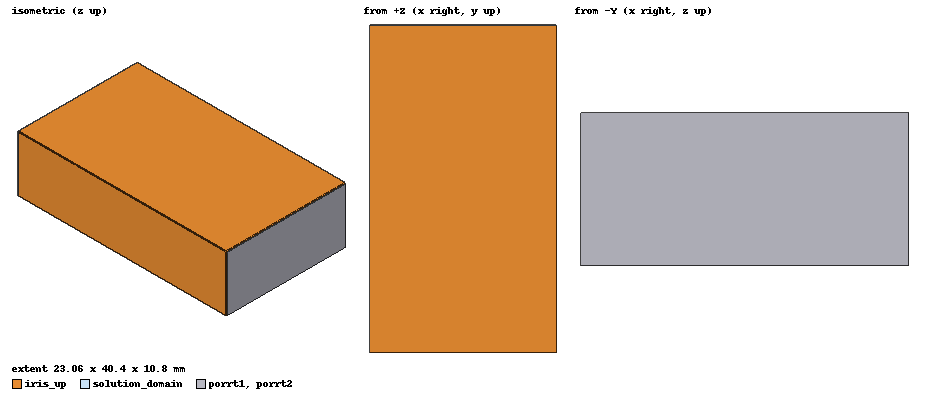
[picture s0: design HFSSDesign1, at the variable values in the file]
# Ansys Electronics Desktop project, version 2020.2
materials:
  vacuum: permittivity=1
  copper: permeability=0.999991 conductivity=58000000
  pec: conductivity=1e+30

design HFSSDesign1 (HFSS, DrivenModal, model units mm)
options: Allow_Material_Override
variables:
  w2 = 0.0106
  w = 0.02286
  t = 0.0001
  l = 0.04
  i = 0.5*(w2-0.006)
  a = 0.041
  w3 = 0.0419
  w4 = 0.044
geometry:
  Box1 = box(corner=(-w/2-t, -l/2-t, -w2/2-t), size=(w+2*t, (l+2*t), w2+2*t))
  iris_up [copper] = box(corner=(-w/2, -t/2, w2/2-i), size=(w, t, i))
  iris_down = box(corner=(-w/2, -t/2, -w2/2), size=(w, t, i))
  Box2 = box(corner=(-w/2, -l/2-t, -w2/2), size=(w, l+2*t, w2))
  solution_domain [vacuum] = box(corner=(-w/2, -l/2-2*t, -w2/2), size=(w, l+4*t, w2))
  Box1.subtract(Box2)
  iris_up.unite(Box1, iris_down)
  porrt1 [pec] = box(corner=(-w/2-t, -l/2-2*t, -w2/2-t), size=(w+2*t, t, w2+2*t))
  porrt2 [pec] = box(corner=(-w/2-t, l/2+t, -w2/2-t), size=(w, t, w2))
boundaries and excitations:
  1: Wave Port Faces=porrt1.face(+y) NumModes=1 DeembedDist=(l+t)/2 Modes{Mode1{CharImp=Zpi}}
  2: Wave Port Faces=porrt2.face(-y) NumModes=1 DeembedDist=(l+t)/2 Modes{Mode1{CharImp=Zpi}}
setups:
  Setup1: HfssDriven Frequency=12GHz MaxDeltaS=0.02 MaximumPasses=50 MinimumPasses=5 MinimumConvergedPasses=3 PercentRefinement=10 BasisOrder=1 PortAccuracy=2
    sweep Sweep: 8GHz to 12GHz, 41 points; Type=Fast SaveFields
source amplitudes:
  1:1: 1W 0deg
  2:1: 0W 0deg
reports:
  S Parameter Plot 1: dB(S(1,1)), dB(S(1,2)) vs Freq on Setup1 : Sweep; markers m1 at 10GHz, m2 at 10GHz
  Z Parameter Plot 1: re(Z(1,1)), re(Z(1,2)) vs Freq on Setup1 : Sweep
  Z Parameter Plot 2: im(Z(1,1)), im(Z(1,2)) vs Freq on Setup1 : Sweep
  S Parameter Plot 2: re(S(1,1)), im(S(1,1)), re(S(1,2)), im(S(1,2)) vs Freq on Setup1 : Sweep; markers m1 at 10GHz, m2 at 10GHz, m3 at 10GHz, m4 at 10GHz
